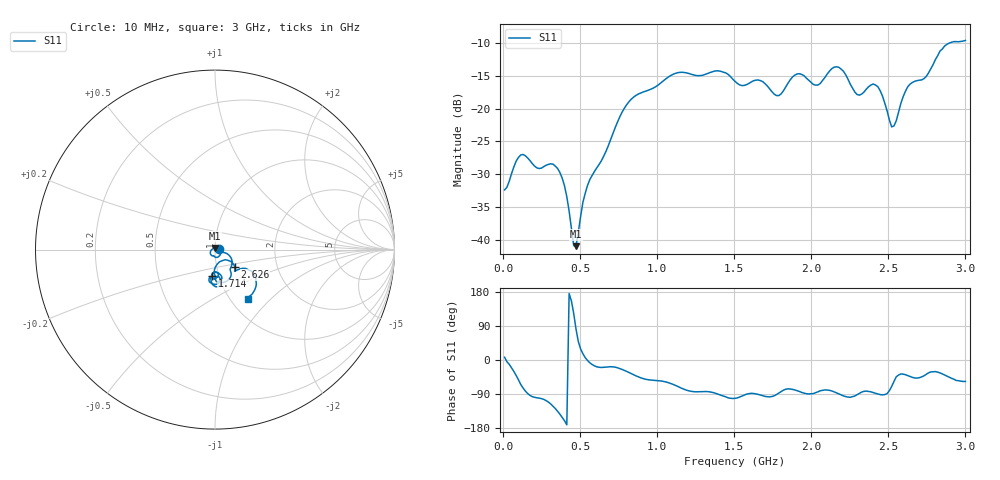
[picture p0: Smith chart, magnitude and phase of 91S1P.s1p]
!File created by NanoVNA
# Hz S RI R 50
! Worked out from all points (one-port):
!   201 points, 10 MHz to 3 GHz, reference 50 ohm
!   lowest |S11| = -40.9 dB at 473.4 MHz (marker M1), VSWR 1.02, Z = 50.1 + j0.889 ohm
!   |S11| at or under -10 dB: start of sweep to 2.898 GHz
!   S11 on the Smith chart (normalised r, x): 10 MHz: 1.05, +0.01; 1.714 GHz: 0.92, -0.28; 2.626 GHz: 1.22, -0.24; 3 GHz: 1.20, -0.74
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1e7  0.0239 0.00299
1.296e8  0.0125 -0.043
2.193e8  -0.00594 -0.0349
3.2395e8  -0.0199 -0.0321
3.8375e8  -0.0259 -0.0141
4.1365e8  -0.0211 -0.00331
4.585e8  -0.00486 0.00764
4.7345e8  0.00135 0.00887
5.183e8  0.0186 0.00546
5.482e8  0.026 -0.000588
7.575e8  0.0799 -0.0333
8.472e8  0.0952 -0.0769
1.13125e9  0.0662 -0.1754
1.40035e9  -0.00339 -0.1934
1.505e9  -0.0312 -0.1582
1.7143e9  -0.0177 -0.1478
1.78905e9  0.00601 -0.1254
1.87875e9  0.0374 -0.1703
2.0432e9  0.0159 -0.1503
2.1628e9  0.0125 -0.2076
2.2525e9  -0.0224 -0.1522
2.3123e9  0.00431 -0.1265
2.4319e9  0.0013 -0.1467
2.5216e9  0.025 -0.0681
2.62625e9  0.1107 -0.0964
2.74585e9  0.1389 -0.1074
2.86545e9  0.2305 -0.1914
3e9  0.1823 -0.2752
